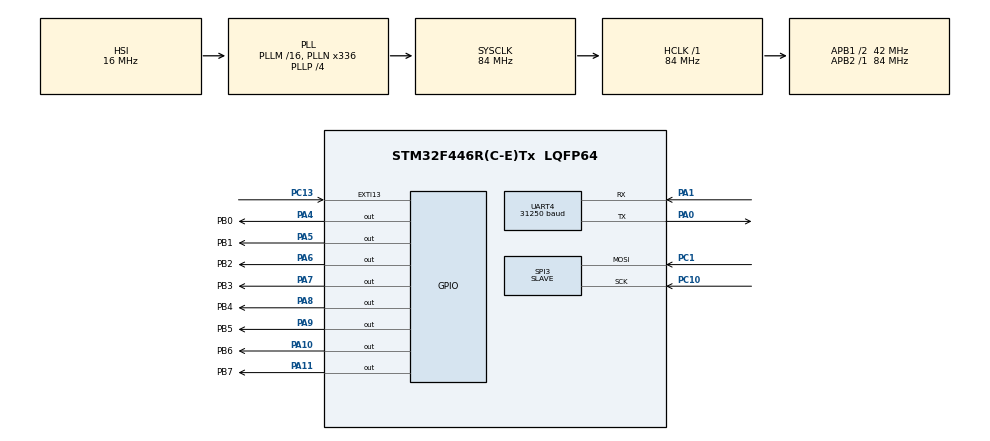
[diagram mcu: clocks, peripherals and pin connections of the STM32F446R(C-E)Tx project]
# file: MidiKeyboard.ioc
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Mcu.Family=STM32F4
Mcu.Name=STM32F446R(C-E)Tx
Mcu.Package=LQFP64
NVIC.PriorityGroup=NVIC_PRIORITYGROUP_4
NVIC.SPI3_IRQn=true\:0\:0\:false\:false\:true\:true\:true
NVIC.UART4_IRQn=true\:1\:0\:true\:false\:true\:true\:true
PA0-WKUP.Mode=Asynchronous
PA0-WKUP.Signal=UART4_TX
PA1.Mode=Asynchronous
PA1.Signal=UART4_RX
PA10.GPIO_Label=PB6
PA10.GPIO_ModeDefaultOutputPP=GPIO_MODE_OUTPUT_OD
PA10.GPIO_PuPd=GPIO_PULLUP
PA10.GPIO_Speed=GPIO_SPEED_FREQ_VERY_HIGH
PA10.PinState=GPIO_PIN_SET
PA10.Signal=GPIO_Output
PA11.GPIO_Label=PB7
PA11.GPIO_ModeDefaultOutputPP=GPIO_MODE_OUTPUT_OD
PA11.GPIO_PuPd=GPIO_PULLUP
PA11.GPIO_Speed=GPIO_SPEED_FREQ_VERY_HIGH
PA11.PinState=GPIO_PIN_SET
PA11.Signal=GPIO_Output
PA13.Mode=Serial_Wire
PA13.Signal=SYS_JTMS-SWDIO
PA14.Mode=Serial_Wire
PA14.Signal=SYS_JTCK-SWCLK
PA2.GPIO_Mode=GPIO_MODE_AF_PP
PA2.GPIO_PuPd=GPIO_PULLUP
PA2.GPIO_Speed=GPIO_SPEED_FREQ_VERY_HIGH
PA2.Signal=USART2_TX
PA3.GPIO_Mode=GPIO_MODE_AF_PP
PA3.GPIO_PuPd=GPIO_PULLUP
PA3.GPIO_Speed=GPIO_SPEED_FREQ_VERY_HIGH
PA3.Signal=USART2_RX
PA4.GPIO_Label=PB0
PA4.GPIO_ModeDefaultOutputPP=GPIO_MODE_OUTPUT_OD
PA4.GPIO_PuPd=GPIO_PULLUP
PA4.GPIO_Speed=GPIO_SPEED_FREQ_VERY_HIGH
PA4.PinState=GPIO_PIN_SET
PA4.Signal=GPIO_Output
PA5.GPIO_Label=PB1
PA5.GPIO_ModeDefaultOutputPP=GPIO_MODE_OUTPUT_OD
PA5.GPIO_PuPd=GPIO_PULLUP
PA5.GPIO_Speed=GPIO_SPEED_FREQ_VERY_HIGH
PA5.PinState=GPIO_PIN_SET
PA5.Signal=GPIO_Output
PA6.GPIO_Label=PB2
PA6.GPIO_ModeDefaultOutputPP=GPIO_MODE_OUTPUT_OD
PA6.GPIO_PuPd=GPIO_PULLUP
PA6.GPIO_Speed=GPIO_SPEED_FREQ_VERY_HIGH
PA6.PinState=GPIO_PIN_SET
PA6.Signal=GPIO_Output
PA7.GPIO_Label=PB3
PA7.GPIO_ModeDefaultOutputPP=GPIO_MODE_OUTPUT_OD
PA7.GPIO_PuPd=GPIO_PULLUP
PA7.GPIO_Speed=GPIO_SPEED_FREQ_VERY_HIGH
PA7.PinState=GPIO_PIN_SET
PA7.Signal=GPIO_Output
PA8.GPIO_Label=PB4
PA8.GPIO_ModeDefaultOutputPP=GPIO_MODE_OUTPUT_OD
PA8.GPIO_PuPd=GPIO_PULLUP
PA8.GPIO_Speed=GPIO_SPEED_FREQ_VERY_HIGH
PA8.PinState=GPIO_PIN_SET
PA8.Signal=GPIO_Output
PA9.GPIO_Label=PB5
PA9.GPIO_ModeDefaultOutputPP=GPIO_MODE_OUTPUT_OD
PA9.GPIO_PuPd=GPIO_PULLUP
PA9.GPIO_Speed=GPIO_SPEED_FREQ_VERY_HIGH
PA9.PinState=GPIO_PIN_SET
PA9.Signal=GPIO_Output
PB3.Signal=SYS_JTDO-SWO
PC1.Mode=RX_Only_Simplex_Unidirect_Slave
PC1.Signal=SPI3_MOSI
PC10.Mode=RX_Only_Simplex_Unidirect_Slave
PC10.Signal=SPI3_SCK
PC13.GPIO_ModeDefaultEXTI=GPIO_MODE_IT_RISING
PC13.GPIO_PuPd=GPIO_NOPULL
PC13.Signal=GPXTI13
PC14-OSC32_IN.Mode=LSE-External-Oscillator
PC14-OSC32_IN.Signal=RCC_OSC32_IN
PC15-OSC32_OUT.Mode=LSE-External-Oscillator
PC15-OSC32_OUT.Signal=RCC_OSC32_OUT
PH0-OSC_IN.Mode=HSE-External-Oscillator
PH0-OSC_IN.Signal=RCC_OSC_IN
PH1-OSC_OUT.Mode=HSE-External-Oscillator
PH1-OSC_OUT.Signal=RCC_OSC_OUT
ProjectManager.HeapSize=0x200
ProjectManager.StackSize=0x400
ProjectManager.TargetToolchain=Makefile
RCC.48MHZClocksFreq_Value=84000000
RCC.AHBFreq_Value=84000000
RCC.APB1CLKDivider=RCC_HCLK_DIV2
RCC.APB1Freq_Value=42000000
RCC.APB1TimFreq_Value=84000000
RCC.APB2Freq_Value=84000000
RCC.APB2TimFreq_Value=84000000
RCC.CortexFreq_Value=84000000
RCC.FLatency-AdvancedSettings=FLASH_LATENCY_2
RCC.HCLKFreq_Value=84000000
RCC.HSE_VALUE=8000000
RCC.HSI_VALUE=16000000
RCC.PLLN=336
RCC.PLLP=RCC_PLLP_DIV4
RCC.SYSCLKFreq_VALUE=84000000
RCC.SYSCLKSource=RCC_SYSCLKSOURCE_PLLCLK
RCC.USBFreq_Value=168000000
RCC.VCOOutputFreq_Value=336000000
SPI3.CLKPhase=SPI_PHASE_2EDGE
SPI3.CLKPolarity=SPI_POLARITY_HIGH
SPI3.Direction=SPI_DIRECTION_2LINES_RXONLY
SPI3.Mode=SPI_MODE_SLAVE
SPI3.VirtualType=VM_SLAVE
UART4.BaudRate=31250
UART4.Mode=MODE_RX
UART4.VirtualMode=Asynchronous
board=NUCLEO-F446RE

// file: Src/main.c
/* USER CODE BEGIN Header */
/**
 ******************************************************************************
 * @file           : main.c
 * @brief          : Main program body
 ******************************************************************************
 * @attention
 *
 * <h2><center>&copy; Copyright (c) 2019 STMicroelectronics.
 * All rights reserved.</center></h2>
 *
 * This software component is licensed by ST under BSD 3-Clause license,
 * the "License"; You may not use this file except in compliance with the
 * License. You may obtain a copy of the License at:
 *                        opensource.org/licenses/BSD-3-Clause
 *
 *  This component has been extended to form a firmware for the STM32 series
 *  microcontrollers that converts serial MIDI to Hybrid Music 4000 signals.
 *  The completed firmware, and new code, is released under GPL 3.0.
 *
 *  USER CODE segments
 *  Copyright (C) 2019  Daniel Jameson
 *
 *  This program is free software: you can redistribute it and/or modify
 *  it under the terms of the GNU General Public License as published by
 *  the Free Software Foundation, either version 3 of the License, or
 *  (at your option) any later version.
 *
 *  This program is distributed in the hope that it will be useful,
 *  but WITHOUT ANY WARRANTY; without even the implied warranty of
 *  MERCHANTABILITY or FITNESS FOR A PARTICULAR PURPOSE.  See the
 *  GNU General Public License for more details.
 *
 *  You should have received a copy of the GNU General Public License
 *  along with this program.  If not, see <https://www.gnu.org/licenses/>.
 *
 ******************************************************************************
 */
/* USER CODE END Header */

#include "main.h"

/* USER CODE BEGIN Includes */
#include "utilities.h"
/* USER CODE END Includes */

/* USER CODE BEGIN PD */

#define MIDI_MASK 0b11110000
#define MIDI_ON 0b10010000
#define MIDI_OFF 0b10000000
#define MIDI_CONT 0b10110000
#define MIDI_PRES 0b11010000
#define MIDI_PROG 0b11000000
#define MIDI_IGNORE 255
#define MIDI_PED 64
#define PEDAL_ZONE 0
#define FALSE 0
#define TRUE 1

/* USER CODE END PD */

SPI_HandleTypeDef hspi3;

UART_HandleTypeDef huart4;

/* USER CODE BEGIN PV */

volatile uint8_t keyboardMatrix[8];
uint8_t m4kZone;
uint8_t m4kNote;
uint8_t rawZone;
uint8_t tempInt;

/* ring buffer */

volatile struct rb ringBuffer;

/* midi command struct */
struct mc {
	volatile uint8_t status;
	volatile uint8_t data[2];
	volatile uint8_t dataSize;
	volatile uint8_t dataCounter;
	volatile uint8_t complete;
};

volatile struct mc midiCommand;

HAL_StatusTypeDef receiveStatus;

/* USER CODE END PV */

void SystemClock_Config(void);
static void MX_GPIO_Init(void);
static void MX_SPI3_Init(void);
static void MX_UART4_Init(void);
/* USER CODE BEGIN PFP */

inline void Note_On(uint8_t);
inline void Note_Off(uint8_t);
inline uint8_t ReadRingBuffer(void);

/* USER CODE END PFP */

int main(void)
{
  /* USER CODE BEGIN 1 */

	uint8_t midiByte=0;
	uint8_t i = 0;

	/* all keys high to start with */
	for (i=0; i<8; i++) {
		keyboardMatrix[i]=255;
	}

	/* zero some things */
	ringBuffer.readIndex=0;
	ringBuffer.writeIndex=0;
	midiCommand.complete=0;
	midiCommand.dataCounter=0;
	midiCommand.dataSize=2;

  /* USER CODE END 1 */

  /* MCU Configuration--------------------------------------------------------*/

  /* Reset of all peripherals, Initializes the Flash interface and the Systick. */
  HAL_Init();

  /* Configure the system clock */
  SystemClock_Config();

  /* Initialize all configured peripherals */
  MX_GPIO_Init();
  MX_SPI3_Init();
  MX_UART4_Init();
  /* USER CODE BEGIN 2 */
	/* enable SPI */
	__HAL_SPI_ENABLE(&hspi3);

	__HAL_UART_ENABLE(&huart4);

  /* USER CODE END 2 */

  /* Infinite loop */
	while (1)
	{

    /* USER CODE BEGIN 3 */
		/**
		 * Zones 1-7 have notes, zone 8 has the control pedal
		 * middle C is 1st note of zone 4 (int 127, midi 60)
		 */

		/* get a midi command from the ring buffer */

		while(midiCommand.complete==0)
		{
			if (ringBuffer.readIndex!=ringBuffer.writeIndex)
			{
				/* only if there's a byte available */
				midiByte=ReadRingBuffer();
				if (midiByte>127)
				{
					/* a status byte */
					switch(midiByte & MIDI_MASK) {
					case MIDI_ON :
						midiCommand.status=MIDI_ON;
						midiCommand.dataSize=2;
						midiCommand.dataCounter=0;
						break;
					case MIDI_OFF :
						midiCommand.status=MIDI_OFF;
						midiCommand.dataSize=2;
						midiCommand.dataCounter=0;
						break;
					case MIDI_CONT :
						midiCommand.status=MIDI_CONT;
						midiCommand.dataSize=2;
						midiCommand.dataCounter=0;
						break;
					case MIDI_PROG :
						midiCommand.status=MIDI_PROG;
						midiCommand.dataSize=1;
						midiCommand.dataCounter=0;
						break;
					case MIDI_PRES :
						midiCommand.status=MIDI_PROG;
						midiCommand.dataSize=1;
						midiCommand.dataCounter=0;
						break;
					default:
						midiCommand.status=MIDI_IGNORE;
						midiCommand.dataSize=2;
						midiCommand.dataCounter=0;
					}
				} else {
					/* a data byte */
					midiCommand.data[midiCommand.dataCounter] = midiByte;
					midiCommand.dataCounter++;
				}
				if (midiCommand.dataCounter>=midiCommand.dataSize)
					/* now have a complete command */
				{
					midiCommand.complete=1;
				}

			}
		}

		/* Process the midi command */
		if (midiCommand.complete==1) {
			switch (midiCommand.status)
			{
			case MIDI_ON :

				if (midiCommand.data[1]!=0) {
					Note_On(midiCommand.data[0]);
				}
				else {
					Note_Off(midiCommand.data[0]);
				}
				break;
			case MIDI_OFF :
				Note_Off(midiCommand.data[0]);
				break;
			case MIDI_CONT :
				if (midiCommand.data[0]==MIDI_PED) {
					if (midiCommand.data[1]<64) {
						/**
						 * Turn it on
						 */
						keyboardMatrix[PEDAL_ZONE] |= (1 << 6);
					} else {
						/**
						 * Turn it off
						 */

						keyboardMatrix[PEDAL_ZONE] &= ~(1 << 6);
					}
				}
				break;
			default :
				break;
			}
			/*reset the command */
			midiCommand.complete=0;
			midiCommand.dataCounter=0;
		}
	}

  /* USER CODE END 3 */
}

void SystemClock_Config(void)
{
  RCC_OscInitTypeDef RCC_OscInitStruct = {0};
  RCC_ClkInitTypeDef RCC_ClkInitStruct = {0};

  /** Configure the main internal regulator output voltage
  */
  __HAL_RCC_PWR_CLK_ENABLE();
  __HAL_PWR_VOLTAGESCALING_CONFIG(PWR_REGULATOR_VOLTAGE_SCALE3);
  /** Initializes the CPU, AHB and APB busses clocks
  */
  RCC_OscInitStruct.OscillatorType = RCC_OSCILLATORTYPE_HSI;
  RCC_OscInitStruct.HSIState = RCC_HSI_ON;
  RCC_OscInitStruct.HSICalibrationValue = RCC_HSICALIBRATION_DEFAULT;
  RCC_OscInitStruct.PLL.PLLState = RCC_PLL_ON;
  RCC_OscInitStruct.PLL.PLLSource = RCC_PLLSOURCE_HSI;
  RCC_OscInitStruct.PLL.PLLM = 16;
  RCC_OscInitStruct.PLL.PLLN = 336;
  RCC_OscInitStruct.PLL.PLLP = RCC_PLLP_DIV4;
  RCC_OscInitStruct.PLL.PLLQ = 2;
  RCC_OscInitStruct.PLL.PLLR = 2;
  if (HAL_RCC_OscConfig(&RCC_OscInitStruct) != HAL_OK)
  {
    Error_Handler();
  }
  /** Initializes the CPU, AHB and APB busses clocks
  */
  RCC_ClkInitStruct.ClockType = RCC_CLOCKTYPE_HCLK|RCC_CLOCKTYPE_SYSCLK
                              |RCC_CLOCKTYPE_PCLK1|RCC_CLOCKTYPE_PCLK2;
  RCC_ClkInitStruct.SYSCLKSource = RCC_SYSCLKSOURCE_PLLCLK;
  RCC_ClkInitStruct.AHBCLKDivider = RCC_SYSCLK_DIV1;
  RCC_ClkInitStruct.APB1CLKDivider = RCC_HCLK_DIV2;
  RCC_ClkInitStruct.APB2CLKDivider = RCC_HCLK_DIV1;

  if (HAL_RCC_ClockConfig(&RCC_ClkInitStruct, FLASH_LATENCY_2) != HAL_OK)
  {
    Error_Handler();
  }
}

static void MX_SPI3_Init(void)
{

  /* SPI3 parameter configuration*/
  hspi3.Instance = SPI3;
  hspi3.Init.Mode = SPI_MODE_SLAVE;
  hspi3.Init.Direction = SPI_DIRECTION_2LINES_RXONLY;
  hspi3.Init.DataSize = SPI_DATASIZE_8BIT;
  hspi3.Init.CLKPolarity = SPI_POLARITY_HIGH;
  hspi3.Init.CLKPhase = SPI_PHASE_2EDGE;
  hspi3.Init.NSS = SPI_NSS_SOFT;
  hspi3.Init.FirstBit = SPI_FIRSTBIT_MSB;
  hspi3.Init.TIMode = SPI_TIMODE_DISABLE;
  hspi3.Init.CRCCalculation = SPI_CRCCALCULATION_DISABLE;
  hspi3.Init.CRCPolynomial = 10;
  if (HAL_SPI_Init(&hspi3) != HAL_OK)
  {
    Error_Handler();
  }
  /* USER CODE BEGIN SPI3_Init 2 */

	/* Set interrupt on buffer not empty */
	hspi3.Instance->CR2 |= SPI_CR2_RXNEIE;

  /* USER CODE END SPI3_Init 2 */

}

static void MX_UART4_Init(void)
{

  huart4.Instance = UART4;
  huart4.Init.BaudRate = 31250;
  huart4.Init.WordLength = UART_WORDLENGTH_8B;
  huart4.Init.StopBits = UART_STOPBITS_1;
  huart4.Init.Parity = UART_PARITY_NONE;
  huart4.Init.Mode = UART_MODE_RX;
  huart4.Init.HwFlowCtl = UART_HWCONTROL_NONE;
  huart4.Init.OverSampling = UART_OVERSAMPLING_16;
  if (HAL_UART_Init(&huart4) != HAL_OK)
  {
    Error_Handler();
  }
  /* USER CODE BEGIN UART4_Init 2 */
	huart4.Instance->CR1 |= USART_CR1_RXNEIE;

  /* USER CODE END UART4_Init 2 */

}

static void MX_GPIO_Init(void)
{
  GPIO_InitTypeDef GPIO_InitStruct = {0};

  /* GPIO Ports Clock Enable */
  __HAL_RCC_GPIOC_CLK_ENABLE();
  __HAL_RCC_GPIOH_CLK_ENABLE();
  __HAL_RCC_GPIOA_CLK_ENABLE();
  __HAL_RCC_GPIOB_CLK_ENABLE();

  /*Configure GPIO pin Output Level */
  HAL_GPIO_WritePin(GPIOA, PB0_Pin|PB1_Pin|PB2_Pin|PB3_Pin
                          |PB4_Pin|PB5_Pin|PB6_Pin|PB7_Pin, GPIO_PIN_SET);

  /*Configure GPIO pin : PC13 */
  GPIO_InitStruct.Pin = GPIO_PIN_13;
  GPIO_InitStruct.Mode = GPIO_MODE_IT_RISING;
  GPIO_InitStruct.Pull = GPIO_NOPULL;
  HAL_GPIO_Init(GPIOC, &GPIO_InitStruct);

  /*Configure GPIO pins : PA2 PA3 */
  GPIO_InitStruct.Pin = GPIO_PIN_2|GPIO_PIN_3;
  GPIO_InitStruct.Mode = GPIO_MODE_AF_PP;
  GPIO_InitStruct.Pull = GPIO_PULLUP;
  GPIO_InitStruct.Speed = GPIO_SPEED_FREQ_VERY_HIGH;
  GPIO_InitStruct.Alternate = GPIO_AF7_USART2;
  HAL_GPIO_Init(GPIOA, &GPIO_InitStruct);

  /*Configure GPIO pins : PB0_Pin PB1_Pin PB2_Pin PB3_Pin
                           PB4_Pin PB5_Pin PB6_Pin PB7_Pin */
  GPIO_InitStruct.Pin = PB0_Pin|PB1_Pin|PB2_Pin|PB3_Pin
                          |PB4_Pin|PB5_Pin|PB6_Pin|PB7_Pin;
  GPIO_InitStruct.Mode = GPIO_MODE_OUTPUT_OD;
  GPIO_InitStruct.Pull = GPIO_PULLUP;
  GPIO_InitStruct.Speed = GPIO_SPEED_FREQ_VERY_HIGH;
  HAL_GPIO_Init(GPIOA, &GPIO_InitStruct);

}

/* USER CODE BEGIN 4 */

/* We're only allowing midi notes between 36 and 84 otherwise
 * we'll overshoot the keyboard matrix array...
 */

/**
 * @brief Set Keyboard Key
 * @param uint_8_t MIDInote
 * @retval None
 */

inline void Note_On(uint8_t note)
{
	if ((note>35) && (note<85)) {
		rawZone=((note-36)/8);
		m4kZone=7-rawZone;
		m4kNote=note-36-(8*rawZone);
		keyboardMatrix[m4kZone] &= ~(1 << m4kNote);
	}
}

/**
 * @brief Set Keyboard Key
 * @param uint_8_t MIDInote
 * @retval None
 */

inline void Note_Off(uint8_t note)
{
	if ((note>35) && (note<85)) {
		rawZone=((note-36)/8);
		m4kZone=7-rawZone;
		m4kNote=note-36-(8*rawZone);
		keyboardMatrix[m4kZone] |= (1 << m4kNote);
	}
}

inline uint8_t ReadRingBuffer(void)
{
	tempInt = ringBuffer.readIndex;
	ringBuffer.readIndex++;
	ringBuffer.readIndex&=127;
	return ringBuffer.data[tempInt];
}

/* USER CODE END 4 */

void Error_Handler(void)
{
}

/************************ (C) COPYRIGHT STMicroelectronics *****END OF FILE****/
